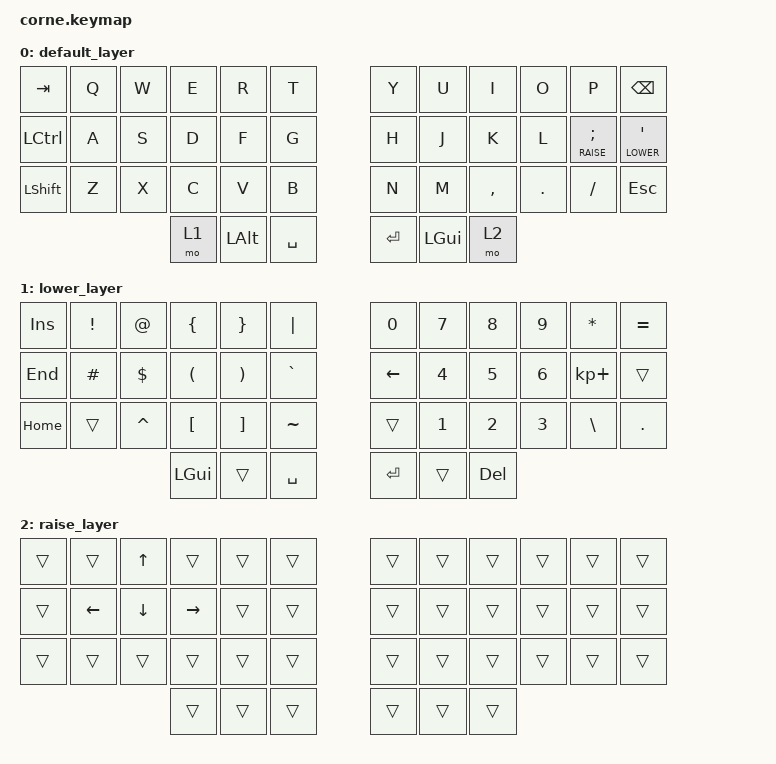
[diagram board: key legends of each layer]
/*
 * Copyright (c) 2020 The ZMK Contributors
 *
 * SPDX-License-Identifier: MIT
 */

#include <behaviors.dtsi>
#include <dt-bindings/zmk/keys.h>
#include <dt-bindings/zmk/bt.h>

#define DEFAULT 0
#define LOWER   1
#define RAISE   2

/ {
        keymap {
                compatible = "zmk,keymap";

                default_layer {
// -----------------------------------------------------------------------------------------
// |  TAB |  Q  |  W  |  E  |  R  |  T  |   |  Y  |  U   |  I  |  O  |  P  | BKSP |
// | CTRL |  A  |  S  |  D  |  F  |  G  |   |  H  |  J   |  K  |  L  |  ;  |  '   |
// | SHFT |  Z  |  X  |  C  |  V  |  B  |   |  N  |  M   |  ,  |  .  |  /  | ESC  |
//                    | LWR | ALT | SPC |   | ENT | GUI  | RSE |
                        bindings = <
   &kp TAB      &kp Q   &kp W   &kp E   &kp R   &kp T   &kp Y   &kp U   &kp I           &kp O   &kp P     &kp BSPC
   &kp LCTRL    &kp A   &kp S   &kp D   &kp F   &kp G   &kp H   &kp J   &kp K           &kp L   &lt RAISE SEMI  &lt LOWER SQT
   &kp LSHFT    &kp Z   &kp X   &kp C   &kp V   &kp B   &kp N   &kp M   &kp COMMA       &kp DOT &kp FSLH  &kp ESC
                  &mo 1 &kp LALT &kp SPACE &kp RET &kp LGUI &mo 2
                        >;
                };
                lower_layer {
// -----------------------------------------------------------------------------------------
// | Ins  |  ! |  @   |  {  |  }  | "|" |   |  0  |  7  |  8  |  9  |  *  | = |
// | End  |  # |  $   |  (  |  )  |  `  |   |  -  |  4  |  5  |  6  |  +  |   |
// | Home | &  |  ^   |  [  |  ]  |  ~  |   |  _  |  1  |  2  |  3  |  \  | . |
//                    | GUI |     | SPC |   | ENT |     | DEL |
                        bindings = <
   &kp INS &kp EXCL &kp AT &kp LBRC &kp RBRC &kp PIPE &kp N0 &kp N7 &kp N8 &kp N9 &kp ASTRK &kp EQUAL
   &kp END &kp POUND &kp DLLR &kp LPAR &kp RPAR &kp GRAVE &kp LEFT &kp N4 &kp N5 &kp N6 &kp KP_PLUS &trans
   &kp HOME &trans &kp CARET &kp LBKT &kp RBKT &kp TILDE &trans &kp N1 &kp N2 &kp N3 &kp BSLH &kp PERIOD
                &kp LGUI &trans &kp SPACE &kp RET &trans &kp DEL
                        >;
                };
                raise_layer {
// -----------------------------------------------------------------------------------------
// |      |     |     |     |     |     |   |     |     |     |     |     |      |
// |      |     |     |     |     |     |   |     |     |     |     |     |      |
// |      |     |     |     |     |     |   |     |     |     |     |     |      |
//                    | GUI |     | SPC |   | ENT |     | ALT |
                        bindings = <
   &trans       &trans  &kp UP  &trans  &trans  &trans  &trans &trans   &trans  &trans &trans &trans
   &trans       &kp LEFT  &kp DOWN  &kp RIGHT  &trans  &trans  &trans &trans   &trans  &trans &trans &trans
   &trans       &trans  &trans  &trans  &trans  &trans  &trans &trans   &trans  &trans &trans &trans
                    	    &trans &trans   &trans  &trans   &trans     &trans
                        >;
                };
        };
};
